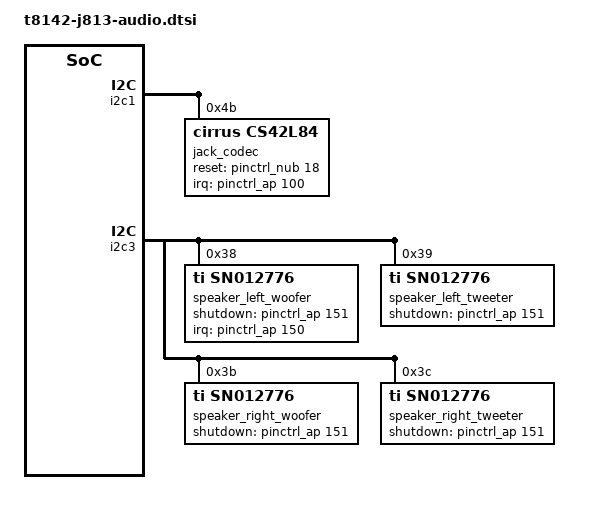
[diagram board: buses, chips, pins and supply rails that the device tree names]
// SPDX-License-Identifier: GPL-2.0+ OR MIT

#include <dt-bindings/gpio/gpio.h>

&pinctrl_ap {
	/*
	 * Not every pin is the AP's: reading pin 78's register raises
	 * an SError. Expose only the pins sound uses: 100 (jack IRQ),
	 * 150 (amp IRQ) and 151 (amp shutdown).
	 */
	gpio-reserved-ranges = <0 100>, <101 49>, <152 72>;
};

&pinctrl_nub {
	/* Only pin 18 (jack codec reset), as on pinctrl_ap. */
	gpio-reserved-ranges = <0 18>, <19 21>;
};


&ps_i2c1 {
	/delete-property/ status;
};

&ps_i2c3 {
	/delete-property/ status;
};

&pmgr_aop {
	/delete-property/ status;
};

&aop_mbox {
	/delete-property/ status;
};

&aop_setup_mbox {
	/delete-property/ status;
};

&aop_dart {
	/delete-property/ status;
};

&admac_base_ns {
	/delete-property/ status;
};

&admac_leap_s {
	/delete-property/ status;
};

&i2c1 {
	/delete-property/ status;
};

&i2c3 {
	/delete-property/ status;
};

&aop {
	/delete-property/ status;
};

&i2c1 {
	jack_codec: codec@4b {
		compatible = "cirrus,cs42l84";
		reg = <0x4b>;
		reset-gpios = <&pinctrl_nub 18 GPIO_ACTIVE_HIGH>;
		interrupts-extended = <&pinctrl_ap 100 IRQ_TYPE_LEVEL_LOW>;
		#sound-dai-cells = <0>;
		sound-name-prefix = "Jack";
	};
};

&i2c3 {
	speaker_left_woofer: codec@38 {
		compatible = "ti,sn012776", "ti,tas2764";
		reg = <0x38>;
		shutdown-gpios = <&pinctrl_ap 151 GPIO_ACTIVE_HIGH>;
		interrupts-extended = <&pinctrl_ap 150 IRQ_TYPE_LEVEL_LOW>;
		#sound-dai-cells = <0>;
		sound-name-prefix = "Left Woofer";
		ti,imon-slot-no = <2>;
		ti,vmon-slot-no = <0>;
		ti,bclk-ratio = <250>;
	};
	speaker_left_tweeter: codec@39 {
		compatible = "ti,sn012776", "ti,tas2764";
		reg = <0x39>;
		shutdown-gpios = <&pinctrl_ap 151 GPIO_ACTIVE_HIGH>;
		#sound-dai-cells = <0>;
		sound-name-prefix = "Left Tweeter";
		ti,imon-slot-no = <10>;
		ti,vmon-slot-no = <8>;
		ti,bclk-ratio = <250>;
	};
	speaker_right_woofer: codec@3b {
		compatible = "ti,sn012776", "ti,tas2764";
		reg = <0x3b>;
		shutdown-gpios = <&pinctrl_ap 151 GPIO_ACTIVE_HIGH>;
		#sound-dai-cells = <0>;
		sound-name-prefix = "Right Woofer";
		ti,imon-slot-no = <6>;
		ti,vmon-slot-no = <4>;
		ti,bclk-ratio = <250>;
	};
	speaker_right_tweeter: codec@3c {
		compatible = "ti,sn012776", "ti,tas2764";
		reg = <0x3c>;
		shutdown-gpios = <&pinctrl_ap 151 GPIO_ACTIVE_HIGH>;
		#sound-dai-cells = <0>;
		sound-name-prefix = "Right Tweeter";
		ti,imon-slot-no = <14>;
		ti,vmon-slot-no = <12>;
		ti,bclk-ratio = <250>;
	};
};

&aop_audio {
	apple,chassis-name = "J813";
	apple,machine-kind = "MacBook Air";
};

/ {
	sound {
		compatible = "apple,j813-macaudio", "apple,macaudio";
		model = "MacBook Air J813";
		#address-cells = <1>;
		#size-cells = <0>;

		dai-link@0 {
			reg = <0>;
			link-name = "Speakers";

			cpu {
				sound-dai = <&aop_audio 3>;
			};
			codec {
				sound-dai = <&speaker_left_woofer>, <&speaker_right_woofer>,
					    <&speaker_left_tweeter>, <&speaker_right_tweeter>;
			};
		};
	};

	sound-jack {
		compatible = "apple,j813-macaudio-jack", "apple,macaudio";
		model = "MacBook Air J813 Jack";
		#address-cells = <1>;
		#size-cells = <0>;

		dai-link@0 {
			reg = <0>;
			link-name = "Headphone Jack";

			cpu {
				sound-dai = <&aop_audio 4>;
			};
			codec {
				sound-dai = <&jack_codec>;
			};
		};
	};
};
